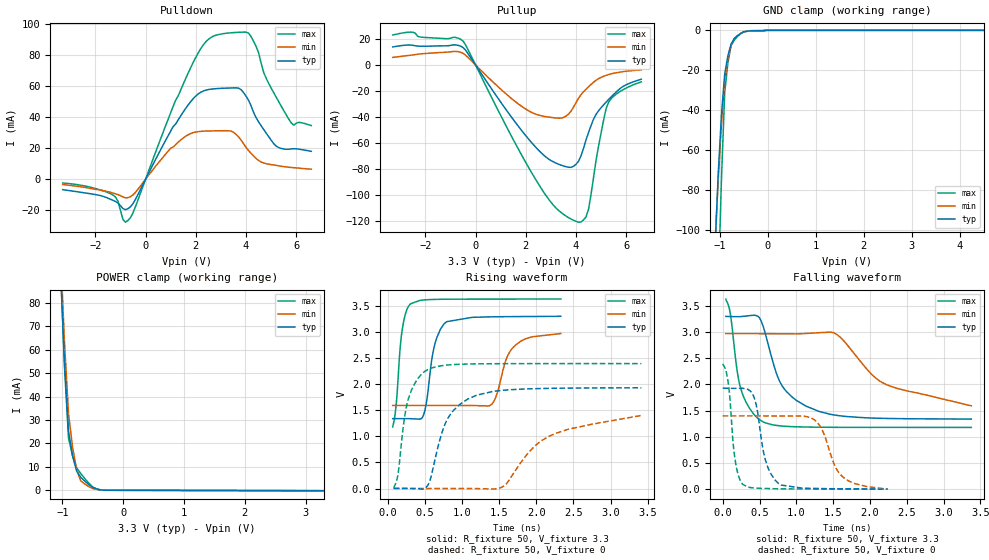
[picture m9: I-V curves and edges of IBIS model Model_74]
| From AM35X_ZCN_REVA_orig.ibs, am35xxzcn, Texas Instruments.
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| Model based on original model for BC1833DV40CTPBFHP18LL_7LM_X50
|   Sub model LL_7LM_X50_PU_ON_3P3
[model]   Model_74
|[Description]  3.3V-I/O-PU-X
|[Input Load]   PU
|[Output Drive]
|Voltage   3.3V
|Mode   I/O
Model_type   I/O
Polarity   Non-Inverting
Enable   Active-Low
Vinl =  0.8V
Vinh =  2V
Cref =  15pF
Rref =  100.0000M
Vref =  0V
Vmeas =  1.65
C_comp   1.943144p   1.721292p   2.064363p
[Model Spec]
Vinl   0.8V   0.8V   0.8V
Vinh   2V   2V   2V
[Temperature Range]   25   125   -40
[Voltage Range]   3.3   2.97   3.63
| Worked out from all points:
|   slope of the pulldown table from 0 to 0.495 V, typ, clamps not added: 31.5 ohm
|   slope of the pullup table from 0 to 0.495 V, typ, clamps not added: 34.6 ohm
|   GND clamp passes 1 mA (typ) near -0.52 V on its own axis
|   POWER clamp passes 1 mA (typ) near -0.48 V on its own axis
|   rising waveform, R_fixture 50, V_fixture 3.3: 20-80 % time 137ps typ, 201ps min, 89ps max; typ from 1.34 V to 3.3 V
|   rising waveform, R_fixture 50, V_fixture 0: 20-80 % time 312ps typ, 707ps min, 173ps max; typ from 0.003 V to 1.93 V
|   falling waveform, R_fixture 50, V_fixture 3.3: 20-80 % time 378ps typ, 808ps min, 190ps max; typ from 3.3 V to 1.34 V
|   falling waveform, R_fixture 50, V_fixture 0: 20-80 % time 157ps typ, 245ps min, 92.5ps max; typ from 1.93 V to 0.003 V
[POWER_clamp]
-3.3V     2.432A     2.868A     2.62A
-1.033V   95.08mA    103.2mA    96.86mA
-966.7mV  54.92mA    63.38mA    53.02mA
-900mV    25.2mA     32.75mA    22.32mA
-833.3mV  14.73mA    18.43mA    14.71mA
-766.7mV  8.199mA    8.88mA     9.664mA
-700mV    5.588mA    4.11mA     7.196mA
-566.7mV  2.492mA    1.585mA    3.092mA
-500mV    1.193mA    763uA      1.348mA
-433.3mV  535.3uA    364.9uA    567.5uA
-300mV    28.66uA    27.24uA    30.96uA
3.3V      -177.5uA   -143.2uA   -277.3uA
[Pulldown]
-3.3V     -6.73mA    -3.436mA   -2.446mA
-1.3V     -13.54mA   -8.893mA   -10.15mA
-900mV    -18.86mA   -11.4mA    -25.9mA
-700mV    -18.9mA    -11.82mA   -26.47mA
1V        30.96mA    19.89mA    42.74mA
1.9V      51.83mA    29.94mA    75.14mA
2.9V      58.3mA     31.12mA    92.92mA
3.5V      58.67mA    30.17mA    94.2mA
4.1V      50.73mA    18.46mA    93.88mA
5.1V      22.94mA    9.149mA    55.64mA
5.8V      19.5mA     7.56mA     36.23mA
6.6V      17.91mA    6.449mA    34.47mA
[Pullup]
-3.3V     13.88mA    5.843mA    23.08mA
-2.5V     15.16mA    7.729mA    25.2mA
-500mV    13.47mA    8.99mA     18.39mA
1.4V      -39.27mA   -25.27mA   -53.66mA
2.4V      -63.29mA   -37.81mA   -88.19mA
3.5V      -77.61mA   -40.33mA   -114.8mA
4.1V      -73.95mA   -25.59mA   -120.8mA
4.5V      -51.77mA   -16.71mA   -110.9mA
4.9V      -35.15mA   -10.47mA   -62.03mA
5.2V      -28.48mA   -7.948mA   -33.38mA
5.3V      -26.46mA   -7.311mA   -28.43mA
6.6V      -10.91mA   -3.736mA   -12.96mA
[GND_clamp]
-3.3V     -2.048A    -1.805A    -3.667A
-1.1V     -108.7mA   -106.5mA   -191.5mA
-1.033V   -71.21mA   -74.08mA   -127.8mA
-966.7mV  -42.28mA   -46.87mA   -74.43mA
-900mV    -21.88mA   -24.94mA   -31.36mA
-833.3mV  -12.75mA   -14.54mA   -16.38mA
-766.7mV  -6.878mA   -7.548mA   -7.563mA
-700mV    -4.259mA   -3.966mA   -4.917mA
-566.7mV  -1.601mA   -1.571mA   -1.659mA
-500mV    -700.3uA   -785.2uA   -703.8uA
-33.33mV  0A         0A         0A
6.6V      0A         0A         0A
[Ramp]
dV/dt_f  1.1889828/0.37568061n 0.84311434/0.79997722n  1.4742206/0.18989122n
dV/dt_r  1.1650202/0.30793731n 0.84546314/0.70126016n  1.4416224/0.17238007n
R_load = 50
[Rising Waveform]
R_fixture = 50
V_fixture = 3.3
V_fixture_min = 2.97
V_fixture_max = 3.63
67.2ps    1.34V      1.592V     1.181V
109.9ps   1.34V      1.592V     1.553V
193.3ps   1.34V      1.592V     3.024V
308.2ps   1.339V     1.592V     3.54V
482.9ps   1.411V     1.592V     3.612V
632.7ps   2.756V     1.592V     3.623V
793.6ps   3.197V     1.592V     3.627V
1.391ns   3.289V     1.604V     3.63V
1.694ns   3.294V     2.712V     3.63V
2.332ns   3.3V       2.97V      3.63V
[Rising Waveform]
R_fixture = 50
V_fixture = 0
V_fixture_min = 0
V_fixture_max = 0
81.58ps   3.383mV    2.143mV    4.747mV
137ps     3.383mV    2.144mV    262.6mV
212.8ps   3.394mV    2.143mV    1.221V
277.7ps   3.099mV    2.143mV    1.719V
542.3ps   70.28mV    2.143mV    2.281V
790.6ps   1.294V     2.143mV    2.365V
1.078ns   1.715V     1.747mV    2.386V
1.559ns   1.884V     45.82mV    2.393V
2.253ns   1.921V     1.053V     2.394V
3.415ns   1.931V     1.401V     2.394V
[Falling Waveform]
R_fixture = 50
V_fixture = 3.3
V_fixture_min = 2.97
V_fixture_max = 3.63
42.66ps   3.3V       2.97V      3.63V
103.2ps   3.296V     2.97V      3.351V
194.9ps   3.294V     2.97V      2.273V
250.7ps   3.296V     2.97V      1.896V
548.3ps   3.112V     2.97V      1.287V
787.6ps   2.021V     2.967V     1.209V
1.132ns   1.586V     2.973V     1.188V
1.547ns   1.411V     2.956V     1.182V
2.209ns   1.353V     2.006V     1.181V
3.376ns   1.34V      1.592V     1.181V
[Falling Waveform]
R_fixture = 50
V_fixture = 0
V_fixture_min = 0
V_fixture_max = 0
0s        1.931V     1.401V     2.394V
77.61ps   1.927V     1.401V     2.003V
177.3ps   1.926V     1.401V     486mV
268.7ps   1.929V     1.401V     96.86mV
424ps     1.759V     1.401V     25.36mV
582.6ps   546.5mV    1.4V       14.27mV
757.9ps   110.5mV    1.399V     8.857mV
1.243ns   16.48mV    1.327V     5.024mV
1.611ns   8.847mV    262.2mV    4.785mV
2.238ns   3.383mV    2.143mV    4.747mV
